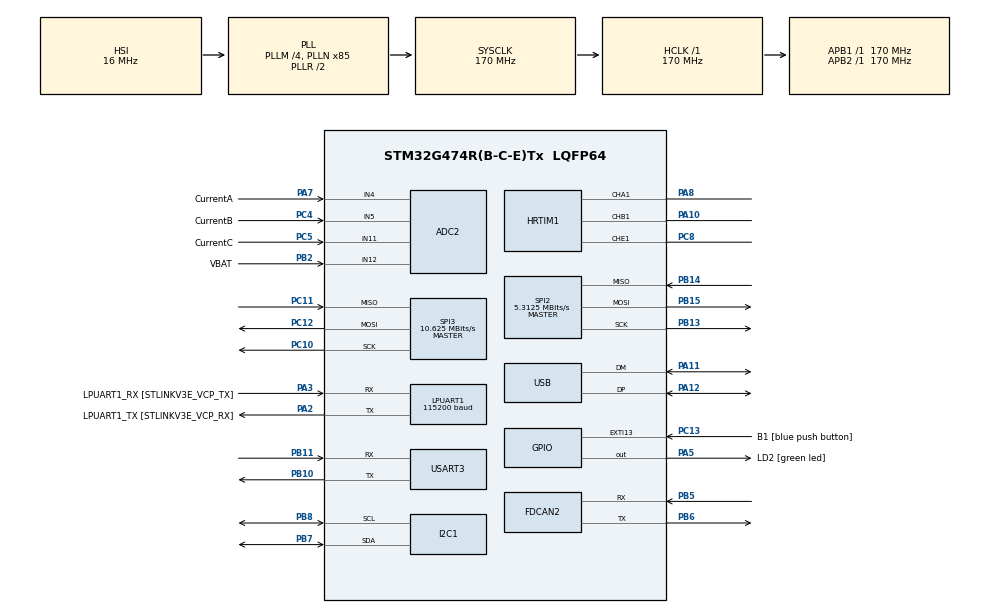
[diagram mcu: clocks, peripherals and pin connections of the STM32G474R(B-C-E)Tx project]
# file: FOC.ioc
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ADC2.Channel-0\#ChannelRegularConversion=ADC_CHANNEL_4
ADC2.NbrOfConversionFlag=1
ADC2.OffsetNumber-0\#ChannelRegularConversion=ADC_OFFSET_NONE
ADC2.Rank-0\#ChannelRegularConversion=1
ADC2.SamplingTime-0\#ChannelRegularConversion=ADC_SAMPLETIME_2CYCLES_5
ADC2.SingleDiff-0\#ChannelRegularConversion=ADC_DIFFERENTIAL_ENDED
FDCAN2.CalculateBaudRateNominal=2125000
FDCAN2.CalculateTimeBitNominal=470
FDCAN2.CalculateTimeQuantumNominal=94.11764705882354
HRTIM1.CompareUnit1-Output_TA1=HRTIM_COMPAREUNIT_1
HRTIM1.CompareUnit1-Output_TB1=HRTIM_COMPAREUNIT_1
HRTIM1.CompareUnit1-Output_TE1=HRTIM_COMPAREUNIT_1
HRTIM1.CompareUnit2-Output_TA1=__NULL
HRTIM1.CompareUnit3-Output_TA1=HRTIM_COMPAREUNIT_3
HRTIM1.CompareUnit3-Output_TB1=HRTIM_COMPAREUNIT_3
HRTIM1.CompareUnit3-Output_TE1=HRTIM_COMPAREUNIT_3
HRTIM1.CompareValue1-Output_TA1=0
HRTIM1.CompareValue1-Output_TB1=0
HRTIM1.CompareValue1-Output_TE1=0
HRTIM1.CompareValue3-Output_TA1=0
HRTIM1.CompareValue3-Output_TB1=0
HRTIM1.CompareValue3-Output_TE1=0
HRTIM1.InterruptRequests1_Master=HRTIM_MASTER_IT_MREP
HRTIM1.NumberInterruptRequests_Master-MasterTimer=1
HRTIM1.NumberResetSource1-Output_TA1=2
HRTIM1.NumberResetSource1-Output_TB1=2
HRTIM1.NumberResetSource1-Output_TE1=2
HRTIM1.NumberResetTrigger-Output_TA1=1
HRTIM1.NumberResetTrigger-Output_TB1=1
HRTIM1.NumberResetTrigger-Output_TE1=1
HRTIM1.NumberSetSource1-Output_TA1=1
HRTIM1.NumberSetSource1-Output_TB1=1
HRTIM1.NumberSetSource1-Output_TE1=1
HRTIM1.Periode_MASTER=54400
HRTIM1.Periode_TA=54400
HRTIM1.Periode_TB=54400
HRTIM1.Periode_TE=54400
HRTIM1.PreloadEnable-MasterTimer=HRTIM_PRELOAD_ENABLED
HRTIM1.PreloadEnable-Output_TA1=HRTIM_PRELOAD_ENABLED
HRTIM1.PreloadEnable-Output_TB1=HRTIM_PRELOAD_ENABLED
HRTIM1.RepetitionUpdate-MasterTimer=HRTIM_UPDATEONREPETITION_ENABLED
HRTIM1.RepetitionUpdate-Output_TA1=HRTIM_UPDATEONREPETITION_ENABLED
HRTIM1.RepetitionUpdate-Output_TB1=HRTIM_UPDATEONREPETITION_ENABLED
HRTIM1.ResetOutput1_Source1-Output_TA1=HRTIM_OUTPUTRESET_TIMPER
HRTIM1.ResetOutput1_Source1-Output_TB1=HRTIM_OUTPUTRESET_TIMPER
HRTIM1.ResetOutput1_Source1-Output_TE1=HRTIM_OUTPUTRESET_TIMPER
HRTIM1.ResetOutput1_Source2-Output_TA1=HRTIM_OUTPUTRESET_TIMCMP3
HRTIM1.ResetOutput1_Source2-Output_TB1=HRTIM_OUTPUTRESET_TIMCMP3
HRTIM1.ResetOutput1_Source2-Output_TE1=HRTIM_OUTPUTRESET_TIMCMP3
HRTIM1.ResetTrigger1-Output_TA1=HRTIM_TIMRESETTRIGGER_MASTER_PER
HRTIM1.ResetTrigger1-Output_TB1=HRTIM_TIMRESETTRIGGER_MASTER_PER
HRTIM1.ResetTrigger1-Output_TE1=HRTIM_TIMRESETTRIGGER_MASTER_PER
HRTIM1.SetOutput1_Source1-Output_TA1=HRTIM_OUTPUTSET_TIMCMP1
HRTIM1.SetOutput1_Source1-Output_TB1=HRTIM_OUTPUTSET_TIMCMP1
HRTIM1.SetOutput1_Source1-Output_TE1=HRTIM_OUTPUTSET_TIMCMP1
HRTIM1.UpDownMode-Output_TA1=HRTIM_TIMERUPDOWNMODE_UP
I2C1.Timing=0x30A0A7FB
LPUART1.BaudRate=115200
LPUART1.WordLength=UART_WORDLENGTH_8B
Mcu.Family=STM32G4
Mcu.Name=STM32G474R(B-C-E)Tx
Mcu.Package=LQFP64
NVIC.EXTI15_10_IRQn=true\:0\:0\:false\:false\:true\:true\:true\:true
NVIC.HRTIM1_Master_IRQn=true\:0\:0\:false\:false\:true\:true\:true\:true
NVIC.PriorityGroup=NVIC_PRIORITYGROUP_4
NVIC.USB_LP_IRQn=true\:0\:0\:false\:false\:true\:false\:true\:true
PA10.Mode=Output_TB1
PA10.Signal=HRTIM1_CHB1
PA11.Mode=Device
PA11.Signal=USB_DM
PA12.Mode=Device
PA12.Signal=USB_DP
PA13.GPIO_Label=T_SWDIO
PA13.Mode=Trace_Asynchronous_SW
PA13.Signal=SYS_JTMS-SWDIO
PA14.GPIO_Label=T_SWCLK
PA14.Mode=Trace_Asynchronous_SW
PA14.Signal=SYS_JTCK-SWCLK
PA2.GPIO_Label=LPUART1_TX [STLINKV3E_VCP_RX]
PA2.Mode=Asynchronous
PA2.Signal=LPUART1_TX
PA3.GPIO_Label=LPUART1_RX [STLINKV3E_VCP_TX]
PA3.Mode=Asynchronous
PA3.Signal=LPUART1_RX
PA5.GPIO_Label=LD2 [green led]
PA5.Signal=GPIO_Output
PA7.GPIO_Label=CurrentA
PA7.Mode=IN4-Differential
PA7.Signal=ADC2_IN4
PA8.Mode=Output_TA1
PA8.Signal=HRTIM1_CHA1
PB10.Mode=Asynchronous
PB10.Signal=USART3_TX
PB11.Mode=Asynchronous
PB11.Signal=USART3_RX
PB13.Mode=Full_Duplex_Master
PB13.Signal=SPI2_SCK
PB14.Mode=Full_Duplex_Master
PB14.Signal=SPI2_MISO
PB15.Mode=Full_Duplex_Master
PB15.Signal=SPI2_MOSI
PB2.GPIO_Label=VBAT
PB2.Mode=IN12-Single-Ended
PB2.Signal=ADC2_IN12
PB3.GPIO_Label=T_SWO
PB3.Mode=Trace_Asynchronous_SW
PB3.Signal=SYS_JTDO-SWO
PB5.Mode=FDCAN_Activate
PB5.Signal=FDCAN2_RX
PB6.Mode=FDCAN_Activate
PB6.Signal=FDCAN2_TX
PB7.Mode=I2C
PB7.Signal=I2C1_SDA
PB8-BOOT0.Mode=I2C
PB8-BOOT0.Signal=I2C1_SCL
PC10.Mode=Full_Duplex_Master
PC10.Signal=SPI3_SCK
PC11.Mode=Full_Duplex_Master
PC11.Signal=SPI3_MISO
PC12.Mode=Full_Duplex_Master
PC12.Signal=SPI3_MOSI
PC13.GPIO_Label=B1 [blue push button]
PC13.Signal=GPXTI13
PC4.GPIO_Label=CurrentB
PC4.Mode=IN4-Differential
PC4.Signal=ADC2_IN5
PC5.GPIO_Label=CurrentC
PC5.Mode=IN11-Single-Ended
PC5.Signal=ADC2_IN11
PC8.Mode=Output_TE1
PC8.Signal=HRTIM1_CHE1
PF0-OSC_IN.Mode=HSE-External-Oscillator
PF0-OSC_IN.Signal=RCC_OSC_IN
PF1-OSC_OUT.Mode=HSE-External-Oscillator
PF1-OSC_OUT.Signal=RCC_OSC_OUT
ProjectManager.HeapSize=0x200
ProjectManager.StackSize=0x400
ProjectManager.TargetToolchain=STM32CubeIDE
RCC.ADC12Freq_Value=170000000
RCC.ADC345Freq_Value=170000000
RCC.AHBFreq_Value=170000000
RCC.APB1Freq_Value=170000000
RCC.APB1TimFreq_Value=170000000
RCC.APB2Freq_Value=170000000
RCC.APB2TimFreq_Value=170000000
RCC.CK48CLockSelection=RCC_USBCLKSOURCE_HSI48
RCC.CortexFreq_Value=170000000
RCC.EXTERNAL_CLOCK_VALUE=12288000
RCC.HCLKFreq_Value=170000000
RCC.HSE_VALUE=24000000
RCC.HSI48_VALUE=48000000
RCC.HSI_VALUE=16000000
RCC.LSE_VALUE=32768
RCC.PLLM=RCC_PLLM_DIV4
RCC.PLLN=85
RCC.RTCClockSelection=RCC_RTCCLKSOURCE_LSE
RCC.SYSCLKFreq_VALUE=170000000
RCC.SYSCLKSource=RCC_SYSCLKSOURCE_PLLCLK
RCC.USBFreq_Value=48000000
RCC.VCOOutputFreq_Value=340000000
SPI2.BaudRatePrescaler=SPI_BAUDRATEPRESCALER_32
SPI2.CalculateBaudRate=5.3125 MBits/s
SPI2.Direction=SPI_DIRECTION_2LINES
SPI2.Mode=SPI_MODE_MASTER
SPI2.VirtualType=VM_MASTER
SPI3.BaudRatePrescaler=SPI_BAUDRATEPRESCALER_16
SPI3.CalculateBaudRate=10.625 MBits/s
SPI3.Direction=SPI_DIRECTION_2LINES
SPI3.Mode=SPI_MODE_MASTER
SPI3.VirtualType=VM_MASTER
STMicroelectronics.X-CUBE-ALGOBUILD.1.3.0.LibraryCcDSPOoLibraryJjDSPOoLibrary=true
USART3.VirtualMode-Asynchronous=VM_ASYNC
USB_DEVICE.CLASS_NAME_FS=CDC
USB_DEVICE.VirtualMode=Cdc
USB_DEVICE.VirtualModeFS=Cdc_FS
VP_HRTIM1_VS_hrtimMasterTimerNoOutput.Mode=MasterTimer
VP_STMicroelectronics.X-CUBE-ALGOBUILD_VS_DSPOoLibraryJjLibrary_1.3.0_1.3.0.Mode=DSPOoLibraryJjLibrary
VP_SYS_VS_DBSignals.Mode=DisableDeadBatterySignals
VP_USB_DEVICE_VS_USB_DEVICE_CDC_FS.Mode=CDC_FS
board=NUCLEO-G474RE

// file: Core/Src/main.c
/* USER CODE BEGIN Header */
/**
  ******************************************************************************
  * @file           : main.c
  * @brief          : Main program body
  ******************************************************************************
  * @attention
  *
  * Copyright (c) 2024 STMicroelectronics.
  * All rights reserved.
  *
  * This software is licensed under terms that can be found in the LICENSE file
  * in the root directory of this software component.
  * If no LICENSE file comes with this software, it is provided AS-IS.
  *
  ******************************************************************************
  */
/* USER CODE END Header */
#include "main.h"
#include "adc.h"
#include "fdcan.h"
#include "hrtim.h"
#include "i2c.h"
#include "usart.h"
#include "spi.h"
#include "usb_device.h"
#include "gpio.h"

/* USER CODE BEGIN Includes */
#include "stdio.h"
#include "arm_math.h"
#include "retarget.h"

#include "Motor.h"
/* USER CODE END Includes */

void SystemClock_Config(void);

int main(void) {

    /* MCU Configuration--------------------------------------------------------*/

    /* Reset of all peripherals, Initializes the Flash interface and the Systick. */
    HAL_Init();

    /* Configure the system clock */
    SystemClock_Config();

    /* Initialize all configured peripherals */
    MX_GPIO_Init();
    MX_LPUART1_UART_Init();
    MX_ADC2_Init();
    MX_FDCAN2_Init();
    MX_HRTIM1_Init();
    MX_I2C1_Init();
    MX_USART3_UART_Init();
    MX_SPI2_Init();
    MX_SPI3_Init();
    MX_USB_Device_Init();
    /* USER CODE BEGIN 2 */
    RetargetInit(&hlpuart1);
    Motor_T FOC;
    FOC.CtrlVolt.U_d = 0.1f;
    FOC.CtrlVolt.U_q = 0;
    FOC.theta = 0;

    HAL_HRTIM_WaveformCountStart(&hhrtim1, HRTIM_TIMERID_MASTER);

    HAL_HRTIM_WaveformCountStart(&hhrtim1, HRTIM_TIMERID_TIMER_A);
    HAL_HRTIM_WaveformCountStart(&hhrtim1, HRTIM_TIMERID_TIMER_B);
    HAL_HRTIM_WaveformCountStart(&hhrtim1, HRTIM_TIMERID_TIMER_C);

    HAL_HRTIM_WaveformOutputStart(&hhrtim1, HRTIM_OUTPUT_TA1);
    HAL_HRTIM_WaveformOutputStart(&hhrtim1, HRTIM_OUTPUT_TB1);
    HAL_HRTIM_WaveformOutputStart(&hhrtim1, HRTIM_OUTPUT_TC1);

    /* USER CODE END 2 */

    /* Infinite loop */
    /* USER CODE BEGIN WHILE */
    while (1) {
//        HAL_GPIO_TogglePin(LD2_GPIO_Port, LD2_Pin);
//        printf("Hello,World!");
//        HAL_Delay(200);
        RevPark(&FOC.CtrlVolt, &FOC.RevParkVolt, &FOC.theta);
        SVPWM(&FOC.RevParkVolt, &FOC.SwitchTime, &FOC.TripPhaseVolt);
        __HAL_HRTIM_SETCOMPARE(&hhrtim1, HRTIM_TIMERINDEX_TIMER_A, HRTIM_COMPAREUNIT_1, FOC.SwitchTime.T_a1);
        __HAL_HRTIM_SETCOMPARE(&hhrtim1, HRTIM_TIMERINDEX_TIMER_A, HRTIM_COMPAREUNIT_3, FOC.SwitchTime.T_a2);
        __HAL_HRTIM_SETCOMPARE(&hhrtim1, HRTIM_TIMERINDEX_TIMER_B, HRTIM_COMPAREUNIT_1, FOC.SwitchTime.T_b1);
        __HAL_HRTIM_SETCOMPARE(&hhrtim1, HRTIM_TIMERINDEX_TIMER_B, HRTIM_COMPAREUNIT_3, FOC.SwitchTime.T_b2);
        __HAL_HRTIM_SETCOMPARE(&hhrtim1, HRTIM_TIMERINDEX_TIMER_C, HRTIM_COMPAREUNIT_1, FOC.SwitchTime.T_c1);
        __HAL_HRTIM_SETCOMPARE(&hhrtim1, HRTIM_TIMERINDEX_TIMER_C, HRTIM_COMPAREUNIT_3, FOC.SwitchTime.T_c2);
//        printf("Ua:%f", FOC.TripPhaseVolt.Ua);
//        printf("Ub:%f", FOC.TripPhaseVolt.Ub);
//        printf("Uc:%f", FOC.TripPhaseVolt.Uc);
        printf("%f,%f,%f\n", FOC.TripPhaseVolt.Ua, FOC.TripPhaseVolt.Ub, FOC.TripPhaseVolt.Uc);
//        printf("%f,%f,%f\n",FOC.SwitchTime.T_a,FOC.SwitchTime.T_b,FOC.SwitchTime.T_c);
        FOC.theta += 1e-3;
//        HAL_Delay(200);
        /* USER CODE END WHILE */

    }
}

void SystemClock_Config(void) {
    RCC_OscInitTypeDef RCC_OscInitStruct = {0};
    RCC_ClkInitTypeDef RCC_ClkInitStruct = {0};

    /** Configure the main internal regulator output voltage
    */
    HAL_PWREx_ControlVoltageScaling(PWR_REGULATOR_VOLTAGE_SCALE1_BOOST);

    /** Initializes the RCC Oscillators according to the specified parameters
    * in the RCC_OscInitTypeDef structure.
    */
    RCC_OscInitStruct.OscillatorType = RCC_OSCILLATORTYPE_HSI | RCC_OSCILLATORTYPE_HSI48;
    RCC_OscInitStruct.HSIState = RCC_HSI_ON;
    RCC_OscInitStruct.HSICalibrationValue = RCC_HSICALIBRATION_DEFAULT;
    RCC_OscInitStruct.HSI48State = RCC_HSI48_ON;
    RCC_OscInitStruct.PLL.PLLState = RCC_PLL_ON;
    RCC_OscInitStruct.PLL.PLLSource = RCC_PLLSOURCE_HSI;
    RCC_OscInitStruct.PLL.PLLM = RCC_PLLM_DIV4;
    RCC_OscInitStruct.PLL.PLLN = 85;
    RCC_OscInitStruct.PLL.PLLP = RCC_PLLP_DIV2;
    RCC_OscInitStruct.PLL.PLLQ = RCC_PLLQ_DIV2;
    RCC_OscInitStruct.PLL.PLLR = RCC_PLLR_DIV2;
    if (HAL_RCC_OscConfig(&RCC_OscInitStruct) != HAL_OK) {
        Error_Handler();
    }

    /** Initializes the CPU, AHB and APB buses clocks
    */
    RCC_ClkInitStruct.ClockType = RCC_CLOCKTYPE_HCLK | RCC_CLOCKTYPE_SYSCLK
                                  | RCC_CLOCKTYPE_PCLK1 | RCC_CLOCKTYPE_PCLK2;
    RCC_ClkInitStruct.SYSCLKSource = RCC_SYSCLKSOURCE_PLLCLK;
    RCC_ClkInitStruct.AHBCLKDivider = RCC_SYSCLK_DIV1;
    RCC_ClkInitStruct.APB1CLKDivider = RCC_HCLK_DIV1;
    RCC_ClkInitStruct.APB2CLKDivider = RCC_HCLK_DIV1;

    if (HAL_RCC_ClockConfig(&RCC_ClkInitStruct, FLASH_LATENCY_4) != HAL_OK) {
        Error_Handler();
    }
}

void Error_Handler(void) {
    __disable_irq();
    while (1) {
    }
}
